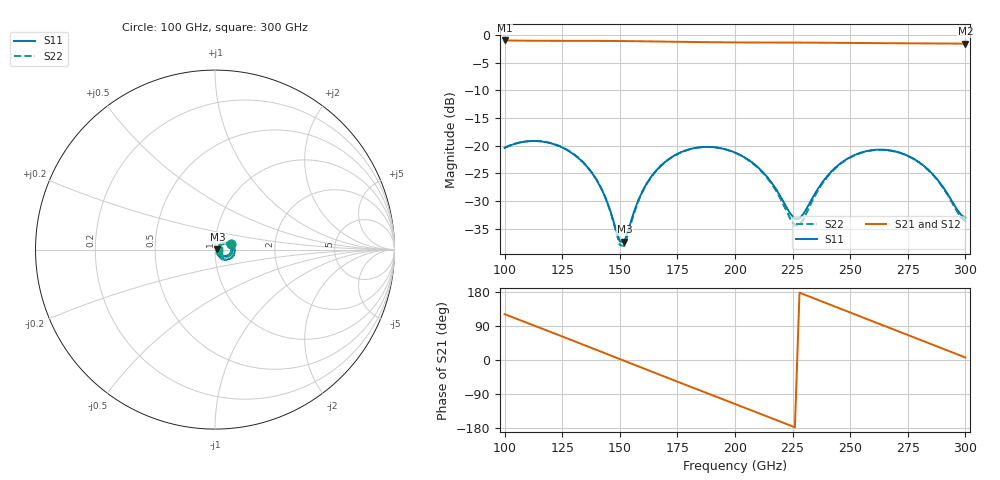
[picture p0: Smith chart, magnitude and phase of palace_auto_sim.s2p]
#  GHZ S DB R 50
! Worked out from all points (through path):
!   101 points, 100 GHz to 300 GHz, reference 50 ohm
!   highest |S21| = -1.01 dB at 100 GHz (marker M1); lowest = -1.6 dB at 300 GHz (marker M2)
!   group delay of S21, straight-line fit = 6.59 ps
!   lowest |S11| = -37.4 dB at 152 GHz (marker M3), VSWR 1.03, Z = 51.4 + j0.213 ohm
!   |S11| at or under -10 dB: start of sweep to end of sweep
!   |S22| runs from -38.2 to -19.1 dB; largest |S21 - S12| = 1e-13
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100  -20.40 19.2  -1.01 120.9  -1.01 120.9  -20.37 18.3
108  -19.33 3.0  -1.04 102.1  -1.04 102.1  -19.31 2.0
116  -19.25 -13.5  -1.06 83.3  -1.06 83.3  -19.22 -14.6
124  -20.14 -29.9  -1.07 64.4  -1.07 64.4  -20.11 -31.2
134  -23.00 -48.8  -1.08 40.7  -1.08 40.7  -22.97 -50.5
142  -27.76 -58.7  -1.09 21.6  -1.09 21.6  -27.76 -61.2
150  -37.30 -24.0  -1.11 2.5  -1.11 2.5  -37.94 -27.9
152  -37.37 8.8  -1.12 -2.3  -1.12 -2.3  -38.16 8.2
160  -28.08 44.3  -1.16 -21.4  -1.16 -21.4  -28.20 44.7
168  -23.54 35.1  -1.20 -40.5  -1.20 -40.5  -23.59 34.7
184  -20.33 5.9  -1.30 -78.4  -1.30 -78.4  -20.35 4.8
192  -20.34 -9.0  -1.33 -97.2  -1.33 -97.2  -20.36 -10.5
200  -21.25 -23.1  -1.36 -116.1  -1.36 -116.1  -21.29 -25.0
214  -25.67 -41.0  -1.38 -149.1  -1.38 -149.1  -25.83 -44.4
226  -33.22 -9.7  -1.39 -177.6  -1.39 -177.6  -34.42 -11.8
228  -33.16 6.5  -1.39 177.6  -1.39 177.6  -34.35 7.4
234  -29.17 34.1  -1.40 163.4  -1.40 163.4  -29.61 37.2
242  -24.59 33.8  -1.42 144.3  -1.42 144.3  -24.74 35.4
252  -21.68 19.1  -1.46 120.5  -1.46 120.5  -21.74 19.8
268  -20.91 -10.0  -1.51 82.6  -1.51 82.6  -20.94 -10.2
284  -24.40 -35.1  -1.54 44.6  -1.54 44.6  -24.45 -36.2
300  -33.03 -2.8  -1.58 6.7  -1.58 6.7  -33.63 -3.9
